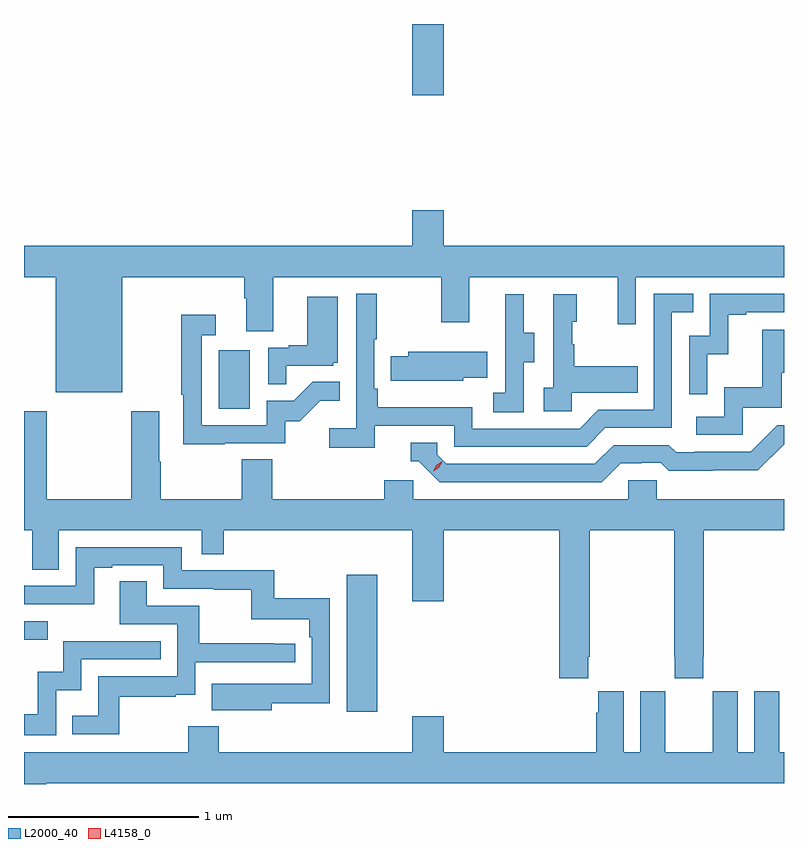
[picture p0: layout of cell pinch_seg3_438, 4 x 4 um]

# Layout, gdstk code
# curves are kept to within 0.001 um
import gdstk
lib = gdstk.Library(unit=1e-6, precision=1e-09)
def R(c, l, rs):  # rectangles x0, y0, x1, y1
    for r in rs: c.add(gdstk.rectangle(r[:2], r[2:], *l))
def P(c, l, *ps):  # polygons
    for p in ps: c.add(gdstk.Polygon(p, *l))
L2000_40 = (2000, 40)
L4158_0 = (4158, 0)

pinch_seg3_438 = lib.new_cell('pinch_seg3_438')
R(pinch_seg3_438, L2000_40, [(943.883,675.984,944.044,676.705), (942.184,676.364,942.31,676.461), (943.208,677.58,943.372,677.887), (944.228,679.23,944.392,679.604)])
P(pinch_seg3_438, L2000_40, [(942.7,678.272),(943.343,678.272),(943.343,678.16),(943.355,678.16),(943.355,677.986),(943.495,677.986),(943.495,678.272),(944.38,678.272),(944.38,678.033),(944.527,678.033),(944.527,678.272),(945.308,678.272),(945.308,678.024),(945.405,678.024),(945.405,678.272),(946.184,678.272),(946.184,678.436),(944.392,678.436),(944.392,678.625),(944.228,678.625),(944.228,678.436),(942.184,678.436),(942.184,678.272),(942.35,678.272),(942.35,677.666),(942.7,677.666)],
  [(944.03,677.49),(944.448,677.49),(944.448,677.379),(945.145,677.379),(945.244,677.478),(945.594,677.478),(945.594,678.087),(945.707,678.087),(945.707,678.183),(945.498,678.183),(945.498,677.574),(945.207,677.574),(945.108,677.475),(944.544,677.475),(944.544,677.587),(944.045,677.587),(944.045,677.683),(944.028,677.683),(944.028,677.944),(944.041,677.944),(944.041,678.184),(943.932,678.184),(943.932,677.476),(943.791,677.476),(943.791,677.374),(944.03,677.374)],
  [(945.78,677.867),(945.89,677.867),(945.89,678.075),(945.985,678.075),(945.985,678.087),(946.184,678.087),(946.184,678.183),(945.792,678.183),(945.792,677.964),(945.684,677.964),(945.684,677.655),(945.78,677.655)],
  [(944.814,677.824),(944.869,677.824),(944.869,677.979),(944.815,677.979),(944.815,678.181),(944.717,678.181),(944.717,677.967),(944.718,677.967),(944.718,677.663),(944.655,677.663),(944.655,677.56),(944.814,677.56)],
  [(945.066,677.663),(945.413,677.663),(945.413,677.803),(945.079,677.803),(945.079,677.918),(945.069,677.918),(945.069,678.036),(945.094,678.036),(945.094,678.181),(944.97,678.181),(944.97,677.69),(944.919,677.69),(944.919,677.565),(945.066,677.565)],
  [(943.565,677.805),(943.812,677.805),(943.812,677.82),(943.834,677.82),(943.834,678.169),(943.676,678.169),(943.676,677.914),(943.577,677.914),(943.577,677.901),(943.47,677.901),(943.47,677.707),(943.565,677.707)],
  [(943.241,677.397),(943.56,677.397),(943.56,677.514),(943.636,677.514),(943.743,677.621),(943.847,677.621),(943.847,677.72),(943.703,677.72),(943.605,677.622),(943.461,677.622),(943.461,677.493),(943.119,677.493),(943.119,677.967),(943.192,677.967),(943.192,678.073),(943.011,678.073),(943.011,677.653),(943.023,677.653),(943.023,677.392),(943.241,677.392)],
  [(945.966,677.583),(946.171,677.583),(946.171,677.769),(946.184,677.769),(946.184,677.995),(946.069,677.995),(946.069,677.692),(945.87,677.692),(945.87,677.538),(945.723,677.538),(945.723,677.442),(945.966,677.442)],
  [(944.496,677.741),(944.621,677.741),(944.621,677.878),(944.207,677.878),(944.207,677.856),(944.113,677.856),(944.113,677.727),(944.224,677.727),(944.224,677.726),(944.496,677.726)],
  [(945.155,676.273),(945.162,676.273),(945.162,676.94),(945.607,676.94),(945.607,676.273),(945.609,676.273),(945.609,676.161),(945.759,676.161),(945.759,676.273),(945.762,676.273),(945.762,676.94),(946.184,676.94),(946.184,677.104),(945.513,677.104),(945.513,677.202),(945.363,677.202),(945.363,677.104),(944.232,677.104),(944.232,677.202),(944.081,677.202),(944.081,677.104),(943.49,677.104),(943.49,677.312),(943.33,677.312),(943.33,677.104),(942.903,677.104),(942.903,677.3),(942.895,677.3),(942.895,677.566),(942.748,677.566),(942.748,677.104),(942.303,677.104),(942.303,677.566),(942.184,677.566),(942.184,676.94),(942.228,676.94),(942.228,676.732),(942.367,676.732),(942.367,676.94),(943.119,676.94),(943.119,676.813),(943.235,676.813),(943.235,676.94),(944.228,676.94),(944.228,676.566),(944.392,676.566),(944.392,676.94),(945.002,676.94),(945.002,676.161),(945.155,676.161)],
  [(945.325,677.292),(945.432,677.292),(945.432,677.295),(945.535,677.295),(945.577,677.253),(945.81,677.253),(945.81,677.255),(946.046,677.255),(946.184,677.393),(946.184,677.493),(946.149,677.493),(946.008,677.352),(945.715,677.352),(945.715,677.349),(945.616,677.349),(945.577,677.388),(945.288,677.388),(945.189,677.289),(944.406,677.289),(944.358,677.337),(944.358,677.4),(944.219,677.4),(944.219,677.304),(944.262,677.304),(944.373,677.193),(945.226,677.193)],
  [(943.489,676.03),(943.794,676.03),(943.794,676.582),(943.501,676.582),(943.501,676.728),(943.014,676.728),(943.014,676.851),(942.456,676.851),(942.456,676.647),(942.186,676.647),(942.184,676.649),(942.184,676.551),(942.553,676.55),(942.553,676.743),(942.649,676.743),(942.649,676.755),(942.918,676.755),(942.918,676.632),(943.183,676.632),(943.183,676.627),(943.38,676.627),(943.38,676.472),(943.685,676.472),(943.685,676.376),(943.698,676.376),(943.698,676.131),(943.171,676.132),(943.171,675.992),(943.489,675.992)],
  [(942.685,676.062),(942.983,676.062),(942.983,676.073),(943.086,676.073),(943.086,676.245),(943.612,676.245),(943.612,676.341),(943.499,676.341),(943.499,676.346),(943.106,676.346),(943.106,676.542),(942.829,676.542),(942.829,676.67),(942.689,676.67),(942.689,676.446),(942.99,676.446),(942.99,676.17),(942.574,676.17),(942.574,675.964),(942.439,675.964),(942.439,675.867),(942.685,675.867)],
  [(942.354,676.097),(942.486,676.097),(942.486,676.26),(942.905,676.26),(942.905,676.356),(942.39,676.356),(942.39,676.195),(942.257,676.195),(942.257,675.97),(942.184,675.97),(942.184,675.861),(942.354,675.861)],
  [(942.302,675.608),(946.184,675.608),(946.184,675.772),(946.159,675.772),(946.159,675.98),(946.158,675.98),(946.158,676.093),(946.028,676.093),(946.028,675.772),(945.94,675.772),(945.94,676.093),(945.81,676.093),(945.81,675.98),(945.809,675.98),(945.809,675.772),(945.559,675.772),(945.559,675.98),(945.558,675.98),(945.558,676.093),(945.428,676.093),(945.428,675.772),(945.34,675.772),(945.34,676.093),(945.206,676.093),(945.206,675.98),(945.197,675.98),(945.197,675.772),(944.392,675.772),(944.392,675.961),(944.228,675.961),(944.228,675.772),(943.208,675.772),(943.208,675.907),(943.048,675.907),(943.048,675.772),(942.184,675.772),(942.184,675.604),(942.302,675.604)])
P(pinch_seg3_438, L4158_0, [(944.337,677.249),(944.337,677.25),(944.353,677.282),(944.383,677.301),(944.384,677.301),(944.384,677.301),(944.368,677.268),(944.337,677.249)])

lib.write_gds('pinch_seg3_438.gds')
